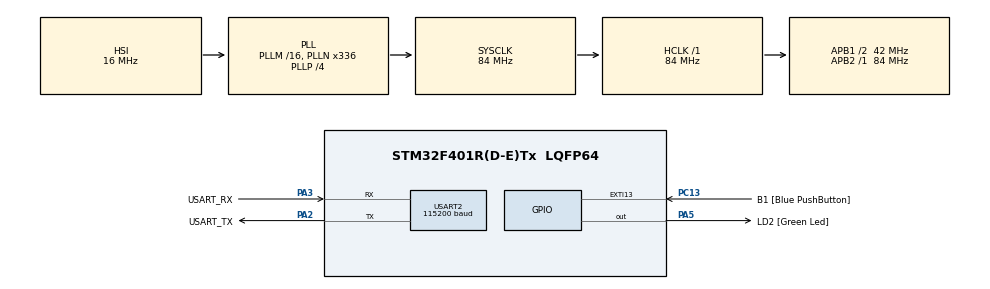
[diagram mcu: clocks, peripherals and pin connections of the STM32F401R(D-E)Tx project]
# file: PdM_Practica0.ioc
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Mcu.Family=STM32F4
Mcu.Name=STM32F401R(D-E)Tx
Mcu.Package=LQFP64
NVIC.PriorityGroup=NVIC_PRIORITYGROUP_0
PA13.GPIO_Label=TMS
PA13.Mode=Serial_Wire
PA13.Signal=SYS_JTMS-SWDIO
PA14.GPIO_Label=TCK
PA14.Mode=Serial_Wire
PA14.Signal=SYS_JTCK-SWCLK
PA2.GPIO_Label=USART_TX
PA2.GPIO_Mode=GPIO_MODE_AF_PP
PA2.GPIO_PuPd=GPIO_NOPULL
PA2.GPIO_Speed=GPIO_SPEED_FREQ_LOW
PA2.Mode=Asynchronous
PA2.Signal=USART2_TX
PA3.GPIO_Label=USART_RX
PA3.GPIO_Mode=GPIO_MODE_AF_PP
PA3.GPIO_PuPd=GPIO_NOPULL
PA3.GPIO_Speed=GPIO_SPEED_FREQ_LOW
PA3.Mode=Asynchronous
PA3.Signal=USART2_RX
PA5.GPIO_Label=LD2 [Green Led]
PA5.GPIO_Mode=GPIO_MODE_OUTPUT_PP
PA5.GPIO_PuPd=GPIO_NOPULL
PA5.GPIO_Speed=GPIO_SPEED_FREQ_LOW
PA5.Signal=GPIO_Output
PB3.GPIO_Label=SWO
PB3.Signal=SYS_JTDO-SWO
PC13-ANTI_TAMP.GPIO_Label=B1 [Blue PushButton]
PC13-ANTI_TAMP.GPIO_ModeDefaultEXTI=GPIO_MODE_IT_FALLING
PC13-ANTI_TAMP.GPIO_PuPd=GPIO_NOPULL
PC13-ANTI_TAMP.Signal=GPXTI13
PC14-OSC32_IN.Mode=LSE-External-Oscillator
PC14-OSC32_IN.Signal=RCC_OSC32_IN
PC15-OSC32_OUT.Mode=LSE-External-Oscillator
PC15-OSC32_OUT.Signal=RCC_OSC32_OUT
PH0\ -\ OSC_IN.Mode=HSE-External-Clock-Source
PH0\ -\ OSC_IN.Signal=RCC_OSC_IN
PH1\ -\ OSC_OUT.Mode=HSE-External-Clock-Source
PH1\ -\ OSC_OUT.Signal=RCC_OSC_OUT
ProjectManager.HeapSize=0x200
ProjectManager.StackSize=0x400
ProjectManager.TargetToolchain=STM32CubeIDE
RCC.48MHZClocksFreq_Value=48000000
RCC.AHBFreq_Value=84000000
RCC.APB1CLKDivider=RCC_HCLK_DIV2
RCC.APB1Freq_Value=42000000
RCC.APB1TimFreq_Value=84000000
RCC.APB2Freq_Value=84000000
RCC.APB2TimFreq_Value=84000000
RCC.CortexFreq_Value=84000000
RCC.HCLKFreq_Value=84000000
RCC.HSE_VALUE=8000000
RCC.HSI_VALUE=16000000
RCC.PLLN=336
RCC.PLLP=RCC_PLLP_DIV4
RCC.PLLQ=7
RCC.SYSCLKFreq_VALUE=84000000
RCC.SYSCLKSource=RCC_SYSCLKSOURCE_PLLCLK
RCC.VCOOutputFreq_Value=336000000
USART2.BaudRate=115200
USART2.VirtualMode=VM_ASYNC
board=NUCLEO-F401RE

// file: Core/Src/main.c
/* USER CODE BEGIN Header */
/**
  ******************************************************************************
  * @file           : main.c
  * @brief          : Main program body
  ******************************************************************************
  * @attention
  *
  * Copyright (c) 2023 STMicroelectronics.
  * All rights reserved.
  *
  * This software is licensed under terms that can be found in the LICENSE file
  * in the root directory of this software component.
  * If no LICENSE file comes with this software, it is provided AS-IS.
  *
  ******************************************************************************
  */
/* USER CODE END Header */
#include "main.h"

UART_HandleTypeDef huart2;

void SystemClock_Config(void);
static void MX_GPIO_Init(void);
static void MX_USART2_UART_Init(void);

int main(void)
{

  /* MCU Configuration--------------------------------------------------------*/

  /* Reset of all peripherals, Initializes the Flash interface and the Systick. */
  HAL_Init();

  /* Configure the system clock */
  SystemClock_Config();

  /* Initialize all configured peripherals */
  MX_GPIO_Init();
  MX_USART2_UART_Init();

  /* Infinite loop */
  /* USER CODE BEGIN WHILE */
  typedef struct
  {
	  uint32_t LED2_IntCntr;
	  uint32_t LED2_Wait;
	  uint32_t Per_Cntr;
	  uint32_t Per_Cntr_Init;
	  uint32_t Stt;
#define Stt_Idle_Periodo  0x00000000
#define Stt_Init_Periodo  0x00000001
#define Stt_Sens_Periodo  0x00000002
#define Stt_End_Periodo   0x00000003

  }TGral;

  TGral Gral =
  {
	  0, //uint32_t LED2_IntCntr;
	  100, //uint32_t LED2_Wait;
	  0, //uint32_t Per_Cntr;
	  0, //uint32_t Per_Cntr_Init;
	  Stt_Init_Periodo //uint32_t Stt;

  };//TGral;

  while (1)
  {
    /* USER CODE END WHILE */
	  if(Gral.LED2_IntCntr < HAL_GetTick())
	  {
		  Gral.LED2_IntCntr += Gral.LED2_Wait;
		  HAL_GPIO_TogglePin(LD2_GPIO_Port, LD2_Pin); //Just a Comment to change any feature
	  }
	  switch (Gral.Stt)
	  {
		case Stt_Idle_Periodo:
			if(!HAL_GPIO_ReadPin(B1_GPIO_Port, B1_Pin)) //Ask if it have to initialize the timer to get the new period of Blinking
			{
				Gral.Per_Cntr_Init = HAL_GetTick();   //If so, get the initial counter a set new state
				Gral.Stt = Stt_End_Periodo;
			}
			break;
		case Stt_End_Periodo:
			if(HAL_GPIO_ReadPin(B1_GPIO_Port, B1_Pin)) //Ask if it have to end the timer to get the new period of Blinking
			{
				Gral.LED2_Wait = (HAL_GetTick() - Gral.Per_Cntr_Init)/2; //If so, get the final counter and divide by 2 de difference to stay half time High/low
				Gral.Stt = Stt_Idle_Periodo;   //Set the new state, to wait for another setting period
			}
			break;
		default:
			Gral.Stt = Stt_Idle_Periodo;
	  }

  }
}

void SystemClock_Config(void)
{
  RCC_OscInitTypeDef RCC_OscInitStruct = {0};
  RCC_ClkInitTypeDef RCC_ClkInitStruct = {0};

  /** Configure the main internal regulator output voltage
  */
  __HAL_RCC_PWR_CLK_ENABLE();
  __HAL_PWR_VOLTAGESCALING_CONFIG(PWR_REGULATOR_VOLTAGE_SCALE2);

  /** Initializes the RCC Oscillators according to the specified parameters
  * in the RCC_OscInitTypeDef structure.
  */
  RCC_OscInitStruct.OscillatorType = RCC_OSCILLATORTYPE_HSI;
  RCC_OscInitStruct.HSIState = RCC_HSI_ON;
  RCC_OscInitStruct.HSICalibrationValue = RCC_HSICALIBRATION_DEFAULT;
  RCC_OscInitStruct.PLL.PLLState = RCC_PLL_ON;
  RCC_OscInitStruct.PLL.PLLSource = RCC_PLLSOURCE_HSI;
  RCC_OscInitStruct.PLL.PLLM = 16;
  RCC_OscInitStruct.PLL.PLLN = 336;
  RCC_OscInitStruct.PLL.PLLP = RCC_PLLP_DIV4;
  RCC_OscInitStruct.PLL.PLLQ = 7;
  if (HAL_RCC_OscConfig(&RCC_OscInitStruct) != HAL_OK)
  {
    Error_Handler();
  }

  /** Initializes the CPU, AHB and APB buses clocks
  */
  RCC_ClkInitStruct.ClockType = RCC_CLOCKTYPE_HCLK|RCC_CLOCKTYPE_SYSCLK
                              |RCC_CLOCKTYPE_PCLK1|RCC_CLOCKTYPE_PCLK2;
  RCC_ClkInitStruct.SYSCLKSource = RCC_SYSCLKSOURCE_PLLCLK;
  RCC_ClkInitStruct.AHBCLKDivider = RCC_SYSCLK_DIV1;
  RCC_ClkInitStruct.APB1CLKDivider = RCC_HCLK_DIV2;
  RCC_ClkInitStruct.APB2CLKDivider = RCC_HCLK_DIV1;

  if (HAL_RCC_ClockConfig(&RCC_ClkInitStruct, FLASH_LATENCY_2) != HAL_OK)
  {
    Error_Handler();
  }
}

static void MX_USART2_UART_Init(void)
{

  huart2.Instance = USART2;
  huart2.Init.BaudRate = 115200;
  huart2.Init.WordLength = UART_WORDLENGTH_8B;
  huart2.Init.StopBits = UART_STOPBITS_1;
  huart2.Init.Parity = UART_PARITY_NONE;
  huart2.Init.Mode = UART_MODE_TX_RX;
  huart2.Init.HwFlowCtl = UART_HWCONTROL_NONE;
  huart2.Init.OverSampling = UART_OVERSAMPLING_16;
  if (HAL_UART_Init(&huart2) != HAL_OK)
  {
    Error_Handler();
  }

}

static void MX_GPIO_Init(void)
{
  GPIO_InitTypeDef GPIO_InitStruct = {0};

  /* GPIO Ports Clock Enable */
  __HAL_RCC_GPIOC_CLK_ENABLE();
  __HAL_RCC_GPIOH_CLK_ENABLE();
  __HAL_RCC_GPIOA_CLK_ENABLE();
  __HAL_RCC_GPIOB_CLK_ENABLE();

  /*Configure GPIO pin Output Level */
  HAL_GPIO_WritePin(LD2_GPIO_Port, LD2_Pin, GPIO_PIN_RESET);

  /*Configure GPIO pin : B1_Pin */
  GPIO_InitStruct.Pin = B1_Pin;
  GPIO_InitStruct.Mode = GPIO_MODE_IT_FALLING;
  GPIO_InitStruct.Pull = GPIO_NOPULL;
  HAL_GPIO_Init(B1_GPIO_Port, &GPIO_InitStruct);

  /*Configure GPIO pin : LD2_Pin */
  GPIO_InitStruct.Pin = LD2_Pin;
  GPIO_InitStruct.Mode = GPIO_MODE_OUTPUT_PP;
  GPIO_InitStruct.Pull = GPIO_NOPULL;
  GPIO_InitStruct.Speed = GPIO_SPEED_FREQ_LOW;
  HAL_GPIO_Init(LD2_GPIO_Port, &GPIO_InitStruct);

}

void Error_Handler(void)
{
  __disable_irq();
  while (1)
  {
  }
}
